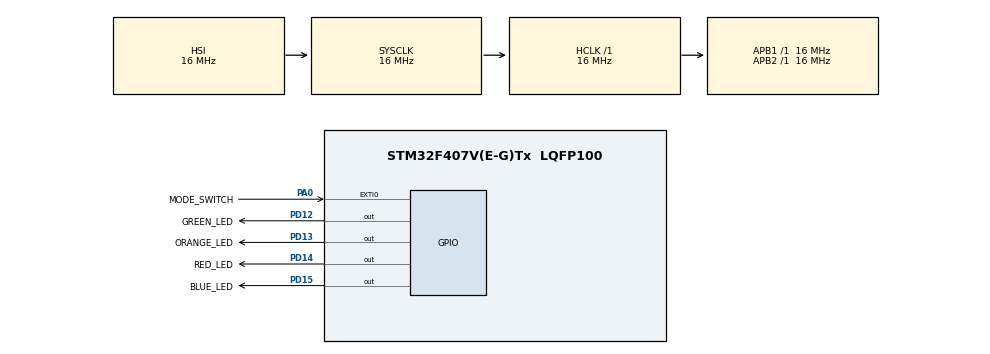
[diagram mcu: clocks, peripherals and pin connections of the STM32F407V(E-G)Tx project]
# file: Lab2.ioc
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Mcu.Family=STM32F4
Mcu.Name=STM32F407V(E-G)Tx
Mcu.Package=LQFP100
NVIC.EXTI0_IRQn=true\:0\:0\:false\:false\:true\:true\:true\:true
NVIC.PriorityGroup=NVIC_PRIORITYGROUP_4
PA0-WKUP.GPIO_Label=MODE_SWITCH
PA0-WKUP.Signal=GPXTI0
PD12.GPIO_Label=GREEN_LED
PD12.Signal=GPIO_Output
PD13.GPIO_Label=ORANGE_LED
PD13.Signal=GPIO_Output
PD14.GPIO_Label=RED_LED
PD14.Signal=GPIO_Output
PD15.GPIO_Label=BLUE_LED
PD15.Signal=GPIO_Output
ProjectManager.HeapSize=0x200
ProjectManager.StackSize=0x400
ProjectManager.TargetToolchain=STM32CubeIDE
RCC.AHBFreq_Value=16000000
RCC.APB1Freq_Value=16000000
RCC.APB2Freq_Value=16000000
RCC.CortexFreq_Value=16000000
RCC.HSE_VALUE=25000000
RCC.HSI_VALUE=16000000
RCC.LSE_VALUE=32768
RCC.SYSCLKFreq_VALUE=16000000
RCC.VCOOutputFreq_Value=192000000
board=custom

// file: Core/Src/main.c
/* USER CODE BEGIN Header */
/**
  ******************************************************************************
  * @file           : main.c
  * @brief          : Main program body
  ******************************************************************************
  * @attention
  *
  * Copyright (c) 2024 STMicroelectronics.
  * All rights reserved.
  *
  * This software is licensed under terms that can be found in the LICENSE file
  * in the root directory of this software component.
  * If no LICENSE file comes with this software, it is provided AS-IS.
  *
  ******************************************************************************
  */
/* USER CODE END Header */
#include "main.h"

/* USER CODE BEGIN PTD */
typedef void (*func)();
/* USER CODE END PTD */

/* USER CODE BEGIN PD */
#define LED_SWITCH_DELAY (1000)
/* USER CODE END PD */

/* USER CODE BEGIN PV */
Light_Mode light_mode = ALL_ON;
/* USER CODE END PV */

void SystemClock_Config(void);
static void MX_GPIO_Init(void);

/* USER CODE BEGIN 0 */

void all_on_mode()
{
	HAL_GPIO_WritePin(GREEN_LED_GPIO_Port, GREEN_LED_Pin, GPIO_PIN_SET);
	HAL_GPIO_WritePin(ORANGE_LED_GPIO_Port, ORANGE_LED_Pin, GPIO_PIN_SET);
	HAL_GPIO_WritePin(RED_LED_GPIO_Port, RED_LED_Pin, GPIO_PIN_SET);
	HAL_GPIO_WritePin(BLUE_LED_GPIO_Port, BLUE_LED_Pin, GPIO_PIN_SET);
	HAL_Delay(LED_SWITCH_DELAY);
}

void fade_mode()
{
	HAL_GPIO_WritePin(GREEN_LED_GPIO_Port, GREEN_LED_Pin, GPIO_PIN_SET);
	HAL_GPIO_WritePin(ORANGE_LED_GPIO_Port, ORANGE_LED_Pin, GPIO_PIN_SET);
	HAL_GPIO_WritePin(RED_LED_GPIO_Port, RED_LED_Pin, GPIO_PIN_SET);
	HAL_GPIO_WritePin(BLUE_LED_GPIO_Port, BLUE_LED_Pin, GPIO_PIN_SET);
	HAL_Delay(LED_SWITCH_DELAY);
	HAL_GPIO_WritePin(GREEN_LED_GPIO_Port, GREEN_LED_Pin, GPIO_PIN_RESET);
	HAL_GPIO_WritePin(ORANGE_LED_GPIO_Port, ORANGE_LED_Pin, GPIO_PIN_RESET);
	HAL_GPIO_WritePin(RED_LED_GPIO_Port, RED_LED_Pin, GPIO_PIN_RESET);
	HAL_GPIO_WritePin(BLUE_LED_GPIO_Port, BLUE_LED_Pin, GPIO_PIN_RESET);
	HAL_Delay(LED_SWITCH_DELAY);
}

void pairs_mode()
{
	HAL_GPIO_WritePin(GREEN_LED_GPIO_Port, GREEN_LED_Pin, GPIO_PIN_SET);
	HAL_GPIO_WritePin(ORANGE_LED_GPIO_Port, ORANGE_LED_Pin, GPIO_PIN_RESET);
	HAL_GPIO_WritePin(RED_LED_GPIO_Port, RED_LED_Pin, GPIO_PIN_SET);
	HAL_GPIO_WritePin(BLUE_LED_GPIO_Port, BLUE_LED_Pin, GPIO_PIN_RESET);
	HAL_Delay(LED_SWITCH_DELAY);
	HAL_GPIO_WritePin(GREEN_LED_GPIO_Port, GREEN_LED_Pin, GPIO_PIN_RESET);
	HAL_GPIO_WritePin(ORANGE_LED_GPIO_Port, ORANGE_LED_Pin, GPIO_PIN_SET);
	HAL_GPIO_WritePin(RED_LED_GPIO_Port, RED_LED_Pin, GPIO_PIN_RESET);
	HAL_GPIO_WritePin(BLUE_LED_GPIO_Port, BLUE_LED_Pin, GPIO_PIN_SET);
	HAL_Delay(LED_SWITCH_DELAY);
}

void cycle_mode()
{
	HAL_GPIO_WritePin(GREEN_LED_GPIO_Port, GREEN_LED_Pin, GPIO_PIN_SET);
	HAL_GPIO_WritePin(ORANGE_LED_GPIO_Port, ORANGE_LED_Pin, GPIO_PIN_RESET);
	HAL_GPIO_WritePin(RED_LED_GPIO_Port, RED_LED_Pin, GPIO_PIN_RESET);
	HAL_GPIO_WritePin(BLUE_LED_GPIO_Port, BLUE_LED_Pin, GPIO_PIN_RESET);
	HAL_Delay(LED_SWITCH_DELAY);
	HAL_GPIO_WritePin(GREEN_LED_GPIO_Port, GREEN_LED_Pin, GPIO_PIN_RESET);
	HAL_GPIO_WritePin(ORANGE_LED_GPIO_Port, ORANGE_LED_Pin, GPIO_PIN_SET);
	HAL_Delay(LED_SWITCH_DELAY);
	HAL_GPIO_WritePin(ORANGE_LED_GPIO_Port, ORANGE_LED_Pin, GPIO_PIN_RESET);
	HAL_GPIO_WritePin(RED_LED_GPIO_Port, RED_LED_Pin, GPIO_PIN_SET);
	HAL_Delay(LED_SWITCH_DELAY);
	HAL_GPIO_WritePin(RED_LED_GPIO_Port, RED_LED_Pin, GPIO_PIN_RESET);
	HAL_GPIO_WritePin(BLUE_LED_GPIO_Port, BLUE_LED_Pin, GPIO_PIN_SET);
	HAL_Delay(LED_SWITCH_DELAY);
}

func mode_func[] = {all_on_mode, fade_mode, pairs_mode, cycle_mode};

/* USER CODE END 0 */

int main(void)
{

  /* MCU Configuration--------------------------------------------------------*/

  /* Reset of all peripherals, Initializes the Flash interface and the Systick. */
  HAL_Init();

  /* Configure the system clock */
  SystemClock_Config();

  /* Initialize all configured peripherals */
  MX_GPIO_Init();

  /* Infinite loop */
  while (1)
  {
	  mode_func[light_mode]();
  }
}

void SystemClock_Config(void)
{
  RCC_OscInitTypeDef RCC_OscInitStruct = {0};
  RCC_ClkInitTypeDef RCC_ClkInitStruct = {0};

  /** Configure the main internal regulator output voltage
  */
  __HAL_RCC_PWR_CLK_ENABLE();
  __HAL_PWR_VOLTAGESCALING_CONFIG(PWR_REGULATOR_VOLTAGE_SCALE1);

  /** Initializes the RCC Oscillators according to the specified parameters
  * in the RCC_OscInitTypeDef structure.
  */
  RCC_OscInitStruct.OscillatorType = RCC_OSCILLATORTYPE_HSI;
  RCC_OscInitStruct.HSIState = RCC_HSI_ON;
  RCC_OscInitStruct.HSICalibrationValue = RCC_HSICALIBRATION_DEFAULT;
  RCC_OscInitStruct.PLL.PLLState = RCC_PLL_NONE;
  if (HAL_RCC_OscConfig(&RCC_OscInitStruct) != HAL_OK)
  {
    Error_Handler();
  }

  /** Initializes the CPU, AHB and APB buses clocks
  */
  RCC_ClkInitStruct.ClockType = RCC_CLOCKTYPE_HCLK|RCC_CLOCKTYPE_SYSCLK
                              |RCC_CLOCKTYPE_PCLK1|RCC_CLOCKTYPE_PCLK2;
  RCC_ClkInitStruct.SYSCLKSource = RCC_SYSCLKSOURCE_HSI;
  RCC_ClkInitStruct.AHBCLKDivider = RCC_SYSCLK_DIV1;
  RCC_ClkInitStruct.APB1CLKDivider = RCC_HCLK_DIV1;
  RCC_ClkInitStruct.APB2CLKDivider = RCC_HCLK_DIV1;

  if (HAL_RCC_ClockConfig(&RCC_ClkInitStruct, FLASH_LATENCY_0) != HAL_OK)
  {
    Error_Handler();
  }
}

static void MX_GPIO_Init(void)
{
  GPIO_InitTypeDef GPIO_InitStruct = {0};

  /* GPIO Ports Clock Enable */
  __HAL_RCC_GPIOA_CLK_ENABLE();
  __HAL_RCC_GPIOD_CLK_ENABLE();

  /*Configure GPIO pin Output Level */
  HAL_GPIO_WritePin(GPIOD, GREEN_LED_Pin|ORANGE_LED_Pin|RED_LED_Pin|BLUE_LED_Pin, GPIO_PIN_RESET);

  /*Configure GPIO pin : MODE_SWITCH_Pin */
  GPIO_InitStruct.Pin = MODE_SWITCH_Pin;
  GPIO_InitStruct.Mode = GPIO_MODE_IT_RISING;
  GPIO_InitStruct.Pull = GPIO_NOPULL;
  HAL_GPIO_Init(MODE_SWITCH_GPIO_Port, &GPIO_InitStruct);

  /*Configure GPIO pins : GREEN_LED_Pin ORANGE_LED_Pin RED_LED_Pin BLUE_LED_Pin */
  GPIO_InitStruct.Pin = GREEN_LED_Pin|ORANGE_LED_Pin|RED_LED_Pin|BLUE_LED_Pin;
  GPIO_InitStruct.Mode = GPIO_MODE_OUTPUT_PP;
  GPIO_InitStruct.Pull = GPIO_NOPULL;
  GPIO_InitStruct.Speed = GPIO_SPEED_FREQ_LOW;
  HAL_GPIO_Init(GPIOD, &GPIO_InitStruct);

  /* EXTI interrupt init*/
  HAL_NVIC_SetPriority(EXTI0_IRQn, 0, 0);
  HAL_NVIC_EnableIRQ(EXTI0_IRQn);

}

void Error_Handler(void)
{
  __disable_irq();
  while (1)
  {
  }
}
